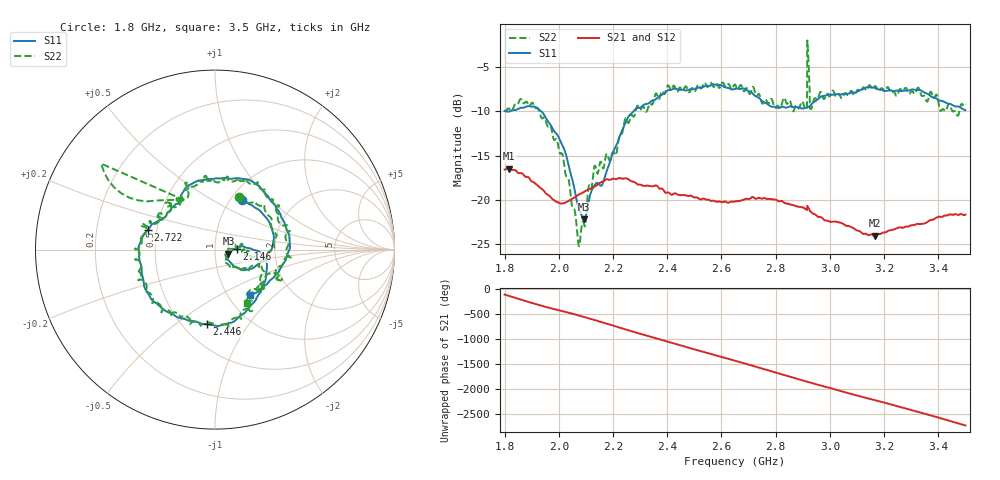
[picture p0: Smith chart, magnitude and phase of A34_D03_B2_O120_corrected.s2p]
! Created with skrf 1.9.0 (http://scikit-rf.org).
# Hz S RI R 50.0
!freq ReS11 ImS11 ReS21 ImS21 ReS12 ImS12 ReS22 ImS22
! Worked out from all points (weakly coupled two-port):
!   1601 points, 1.8 GHz to 3.5 GHz, reference 50 ohm
!   highest |S21| = -16.45 dB at 1.817 GHz (marker M1); lowest = -24.0 dB at 3.165 GHz (marker M2)
!   lowest |S11| = -22.2 dB at 2.093 GHz (marker M3), VSWR 1.17, Z = 58 - j2.62 ohm
!   |S11| at or under -10 dB: 1.808 GHz to 1.819 GHz (10.89 MHz wide, 0.6 % of centre); 1.935 GHz to 2.275 GHz (339.8 MHz wide, 16.1 % of centre)
!   |S22| runs from -25.2 to -2.0 dB; largest |S21 - S12| = 0.0025
!   S11 on the Smith chart (normalised r, x): 1.8 GHz: 1.13, +0.70; 2.146 GHz: 1.28, +0.01; 2.446 GHz: 0.65, -0.66; 2.722 GHz: 0.45, +0.12; 3.5 GHz: 1.26, -0.72
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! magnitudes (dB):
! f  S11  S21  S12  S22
! 1.8 GHz  -10.0  -16.6  -16.6  -9.9
! 1.817 GHz  -10.0  -16.5  -16.5  -9.7
! 1.903 GHz  -9.5  -17.9  -17.9  -9.0
! 1.968 GHz  -11.4  -19.6  -19.7  -11.6
! 2.015 GHz  -13.9  -20.4  -20.4  -15.0
! 2.072 GHz  -20.7  -19.4  -19.5  -25.0
! 2.084 GHz  -21.7  -19.3  -19.2  -23.1
! 2.093 GHz  -22.2  -19.1  -19.1  -22.7
! 2.112 GHz  -19.8  -18.8  -18.8  -18.3
! 2.146 GHz  -18.2  -18.2  -18.2  -16.7
! 2.259 GHz  -10.5  -17.7  -17.7  -11.2
! 2.367 GHz  -8.4  -18.6  -18.6  -8.6
! 2.446 GHz  -7.6  -19.4  -19.4  -7.3
! 2.65 GHz  -7.5  -20.2  -20.1  -7.0
! 2.722 GHz  -8.2  -19.8  -19.7  -7.7
! 2.868 GHz  -9.5  -20.6  -20.6  -9.9
! 2.907 GHz  -9.6  -21.0  -20.9  -9.7
! 2.925 GHz  -9.4  -21.1  -21.1  -7.4
! 2.934 GHz  -9.2  -21.5  -21.4  -9.6
! 3.165 GHz  -7.3  -24.0  -24.0  -7.2
! 3.217 GHz  -7.6  -23.5  -23.4  -7.4
! 3.5 GHz  -9.9  -21.7  -21.6  -9.2
